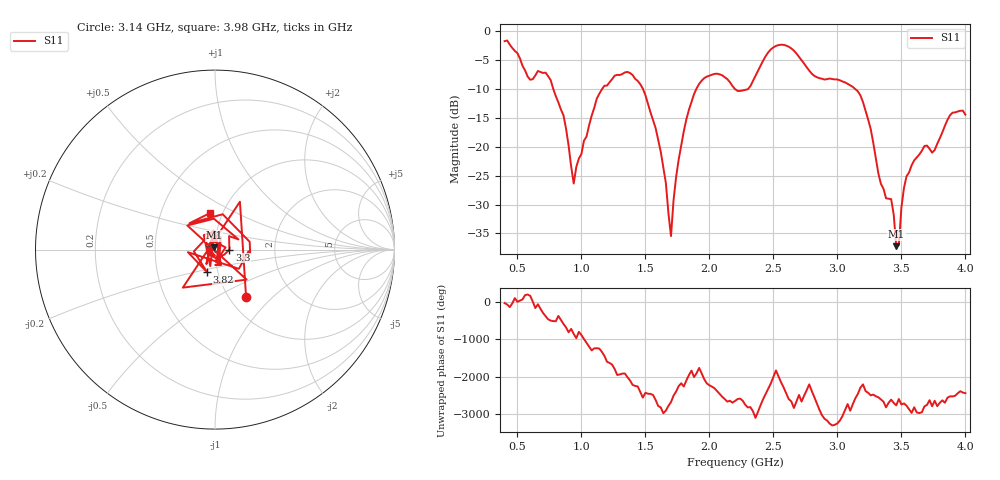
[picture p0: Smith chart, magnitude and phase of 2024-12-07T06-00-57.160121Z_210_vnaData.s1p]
!Created with skrf (http://scikit-rf.org).
# Hz S RI R 50.0
!freq ReS11 ImS11
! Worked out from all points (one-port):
!   181 points, 400 MHz to 4 GHz, reference 50 ohm
!   lowest |S11| = -37.2 dB at 3.46 GHz (marker M1), VSWR 1.03, Z = 49.4 + j1.22 ohm
!   |S11| at or under -10 dB: 779.9 MHz to 1.162 GHz (382.4 MHz wide, 39.4 % of centre); 1.481 GHz to 1.898 GHz (417.3 MHz wide, 24.7 % of centre); 3.138 GHz to end of sweep (the widest 3 of 4)
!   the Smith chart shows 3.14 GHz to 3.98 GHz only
!   S11 on the Smith chart (normalised r, x): 3.14 GHz: 1.20, -0.70; 3.3 GHz: 1.17, -0.00; 3.82 GHz: 0.89, -0.23; 3.98 GHz: 0.87, +0.37
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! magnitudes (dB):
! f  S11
! 400 MHz  -1.7
! 600 MHz  -8.4
! 720 MHz  -7.2
! 860 MHz  -14.6
! 940 MHz  -26.4
! 1.12 GHz  -11.7
! 1.3 GHz  -7.6
! 1.5 GHz  -11.1
! 1.62 GHz  -20.9
! 1.7 GHz  -35.5
! 1.76 GHz  -22.2
! 1.92 GHz  -9.1
! 2.2 GHz  -10.0
! 2.3 GHz  -10.1
! 2.5 GHz  -2.8
! 2.66 GHz  -3.4
! 3.1 GHz  -9.4
! 3.14 GHz  -10.0
! 3.3 GHz  -21.9
! 3.38 GHz  -28.9
! 3.42 GHz  -29.1
! 3.46 GHz  -37.2
! 3.48 GHz  -37.0
! 3.52 GHz  -27.2
! 3.56 GHz  -24.4
! 3.82 GHz  -17.5
! 3.98 GHz  -13.8
! 4 GHz  -14.5
